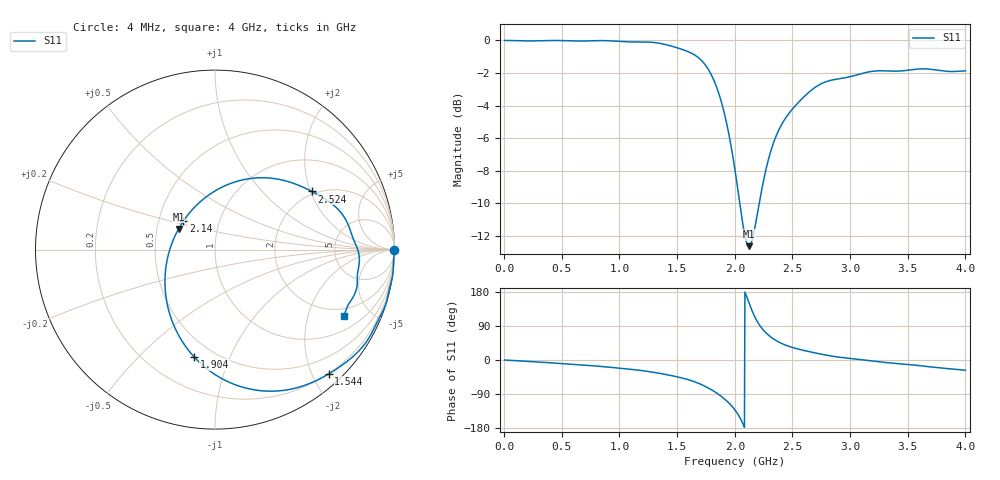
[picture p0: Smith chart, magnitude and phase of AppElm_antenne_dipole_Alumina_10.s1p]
! TOUCHSTONE file generated by CST MICROWAVE STUDIO
! Date and time: Sat May 14 11:42:19 2022
! Project name: AppElm_antenne_dipole_Alumina.cst
! Parameters = {L=39.6; e=0.035; f=2.45e+09; h=1.6; i=0.8; l1=2; lambda=122.449; ls=30; wl=1.7; ws=80}
! Header version: 2018
! Port assignment regex: !\s*Touchstone port\s*([0-9]+)\s*=\s*(CST MWS port|CST DS port)\s*([0-9]+|Zmin|Zmax)\s*\(\"(.*)\"\)(\s*mode\s*([0-9]+))?.*
! Touchstone port assignment:
! Touchstone port 1 = CST MWS port 1 ("")
# GHz S MA R 50
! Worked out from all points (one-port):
!   1000 points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, 4 MHz to 4 GHz, reference 50 ohm
!   lowest |S11| = -12.6 dB at 2.124 GHz (marker M1), VSWR 1.61, Z = 32.4 + j7.87 ohm
!   |S11| at or under -10 dB: 2.044 GHz to 2.212 GHz (168.4 MHz wide, 7.92 % of centre)
!   S11 on the Smith chart (normalised r, x): 4 MHz: open; 1.544 GHz: 0.19, -2.26; 1.904 GHz: 0.39, -0.74; 2.14 GHz: 0.67, +0.23; 2.524 GHz: 1.91, +2.05; 4 GHz: 1.63, -3.42
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0.004  1 -0.1
0.504  0.9989 -9.6
1.004  0.9932 -21.7
1.284  0.9868 -31.9
1.392  0.973 -37.7
1.504  0.9486 -44.6
1.544  0.9386 -47.5
1.656  0.9006 -58.0
1.76  0.8261 -72.1
1.832  0.7351 -85.0
1.904  0.6085 -101.1
1.956  0.5 -115.6
2.004  0.3958 -132.8
2.04  0.3229 -149.6
2.08  0.2601 -174.6
2.124  0.2335 150.5
2.14  0.2376 137.6
2.212  0.3162 93.2
2.288  0.4256 66.8
2.392  0.5399 45.8
2.504  0.6181 32.7
2.524  0.6297 30.9
2.752  0.737 15.3
3.004  0.7745 4.0
3.208  0.8053 -3.2
3.504  0.8104 -11.8
3.64  0.8181 -16.2
4  0.8066 -27.1
